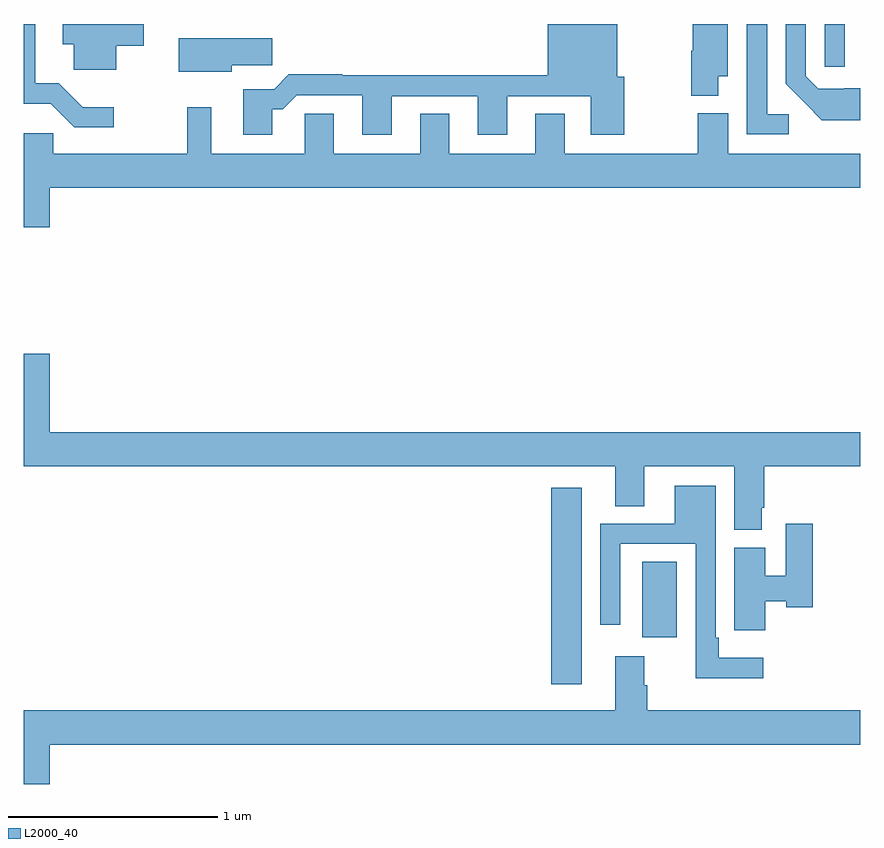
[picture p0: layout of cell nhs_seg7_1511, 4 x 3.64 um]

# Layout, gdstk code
import gdstk
lib = gdstk.Library(unit=1e-6, precision=1e-09)
def R(c, l, rs):  # rectangles x0, y0, x1, y1
    for r in rs: c.add(gdstk.rectangle(r[:2], r[2:], *l))
def P(c, l, *ps):  # polygons
    for p in ps: c.add(gdstk.Polygon(p, *l))
L2000_40 = (2000, 40)

nhs_seg7_1511 = lib.new_cell('nhs_seg7_1511')
R(nhs_seg7_1511, L2000_40, [(215.522,1064.841,215.668,1065.781), (215.957,1065.066,216.124,1065.428), (216.831,1067.796,216.927,1068)])
P(nhs_seg7_1511, L2000_40, [(217,1067.692),(216.924,1067.692),(216.924,1067.691),(216.801,1067.691),(216.741,1067.751),(216.741,1068),(216.645,1068),(216.645,1067.714),(216.737,1067.621),(216.817,1067.54),(217,1067.54)],
  [(214.189,1067.591),(214.238,1067.591),(214.305,1067.658),(214.619,1067.658),(214.619,1067.469),(214.759,1067.469),(214.759,1067.655),(215.171,1067.655),(215.171,1067.469),(215.311,1067.469),(215.311,1067.655),(215.711,1067.655),(215.711,1067.469),(215.871,1067.469),(215.871,1067.748),(215.839,1067.748),(215.839,1068),(215.507,1068),(215.507,1067.756),(214.523,1067.756),(214.523,1067.759),(214.268,1067.759),(214.198,1067.689),(214.049,1067.689),(214.049,1067.469),(214.189,1067.469)],
  [(213.43,1067.602),(213.281,1067.602),(213.166,1067.717),(213.055,1067.717),(213.055,1068),(213,1068),(213,1067.618),(213.127,1067.618),(213.24,1067.505),(213.43,1067.505)],
  [(216.322,1067.75),(216.367,1067.75),(216.367,1068),(216.2,1068),(216.2,1067.871),(216.193,1067.871),(216.193,1067.657),(216.322,1067.657)],
  [(216.658,1067.568),(216.555,1067.568),(216.555,1068),(216.459,1068),(216.459,1067.472),(216.658,1067.472)],
  [(213.442,1067.896),(213.574,1067.896),(213.574,1068),(213.185,1068),(213.185,1067.903),(213.239,1067.903),(213.239,1067.78),(213.442,1067.78)],
  [(213.994,1067.803),(214.189,1067.803),(214.189,1067.932),(213.74,1067.932),(213.74,1067.771),(213.994,1067.771)],
  [(213.124,1067.216),(217,1067.216),(217,1067.38),(216.37,1067.38),(216.37,1067.572),(216.223,1067.572),(216.223,1067.38),(215.587,1067.38),(215.587,1067.57),(215.447,1067.57),(215.447,1067.38),(215.035,1067.38),(215.035,1067.57),(214.895,1067.57),(214.895,1067.38),(214.483,1067.38),(214.483,1067.57),(214.344,1067.57),(214.344,1067.38),(213.895,1067.38),(213.895,1067.602),(213.781,1067.602),(213.781,1067.38),(213.139,1067.38),(213.139,1067.478),(213,1067.478),(213,1067.028),(213.124,1067.028)],
  [(216.529,1065.685),(216.542,1065.685),(216.542,1065.884),(217,1065.884),(217,1066.048),(213.124,1066.048),(213.124,1066.423),(213,1066.423),(213,1065.884),(215.828,1065.884),(215.828,1065.694),(215.968,1065.694),(215.968,1065.884),(216.398,1065.884),(216.398,1065.58),(216.529,1065.58)],
  [(216.538,1064.968),(216.325,1064.968),(216.325,1065.064),(216.309,1065.064),(216.309,1065.79),(216.113,1065.79),(216.113,1065.609),(215.757,1065.609),(215.757,1065.126),(215.853,1065.126),(215.853,1065.513),(216.213,1065.513),(216.213,1064.87),(216.538,1064.87)],
  [(216.547,1065.239),(216.648,1065.239),(216.648,1065.209),(216.774,1065.209),(216.774,1065.61),(216.644,1065.61),(216.644,1065.361),(216.547,1065.361),(216.547,1065.495),(216.398,1065.495),(216.398,1065.211),(216.399,1065.211),(216.399,1065.099),(216.547,1065.099)],
  [(213.124,1064.552),(217,1064.552),(217,1064.716),(215.981,1064.716),(215.981,1064.837),(215.968,1064.837),(215.968,1064.974),(215.828,1064.974),(215.828,1064.716),(213,1064.716),(213,1064.364),(213.124,1064.364)])

lib.write_gds('nhs_seg7_1511.gds')
